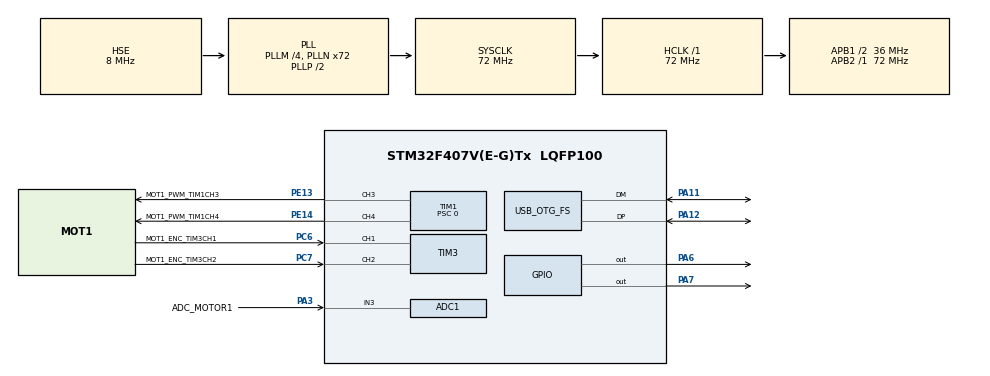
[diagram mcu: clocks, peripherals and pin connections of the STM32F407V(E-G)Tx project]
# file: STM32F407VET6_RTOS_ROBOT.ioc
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ADC1.Channel-0\#ChannelRegularConversion=ADC_CHANNEL_3
ADC1.Channel-4\#ChannelRegularConversion=ADC_CHANNEL_3
ADC1.Channel-5\#ChannelRegularConversion=ADC_CHANNEL_3
ADC1.InjNumberOfConversion=0
ADC1.NbrOfConversion=3
ADC1.NbrOfConversionFlag=1
ADC1.Rank-0\#ChannelRegularConversion=1
ADC1.Rank-4\#ChannelRegularConversion=2
ADC1.Rank-5\#ChannelRegularConversion=3
ADC1.SamplingTime-0\#ChannelRegularConversion=ADC_SAMPLETIME_3CYCLES
ADC1.SamplingTime-4\#ChannelRegularConversion=ADC_SAMPLETIME_3CYCLES
ADC1.SamplingTime-5\#ChannelRegularConversion=ADC_SAMPLETIME_3CYCLES
ADC1.master=1
Dma.ADC1.0.Direction=DMA_PERIPH_TO_MEMORY
Dma.ADC1.0.FIFOMode=DMA_FIFOMODE_DISABLE
Dma.ADC1.0.Instance=DMA2_Stream0
Dma.ADC1.0.MemDataAlignment=DMA_MDATAALIGN_HALFWORD
Dma.ADC1.0.MemInc=DMA_MINC_ENABLE
Dma.ADC1.0.Mode=DMA_CIRCULAR
Dma.ADC1.0.PeriphDataAlignment=DMA_PDATAALIGN_HALFWORD
Dma.ADC1.0.PeriphInc=DMA_PINC_DISABLE
Dma.ADC1.0.Priority=DMA_PRIORITY_LOW
Dma.Request0=ADC1
FREERTOS.Queues01=USBqueue,8,11,1,Static,USBqueueBuffer,USBqueueControlBlock
FREERTOS.Tasks01=main_thread,24,128,main_task,Default,NULL,Static,mainTaskBuffer,mainTaskControlBlock;PWM_thread,8,128,pwm_task,Default,NULL,Static,PWM_threadBuffer,PWM_threadControlBlock
FREERTOS.configUSE_NEWLIB_REENTRANT=1
Mcu.Family=STM32F4
Mcu.Name=STM32F407V(E-G)Tx
Mcu.Package=LQFP100
NVIC.DMA2_Stream0_IRQn=true\:5\:0\:false\:false\:true\:true\:false\:true\:true
NVIC.OTG_FS_IRQn=true\:5\:0\:false\:false\:true\:true\:true\:true\:true
NVIC.PriorityGroup=NVIC_PRIORITYGROUP_4
NVIC.TIM6_DAC_IRQn=true\:15\:0\:false\:false\:true\:false\:false\:true\:true
NVIC.TimeBase=TIM6_DAC_IRQn
NVIC.TimeBaseIP=TIM6
PA11.Mode=Device_Only
PA11.Signal=USB_OTG_FS_DM
PA12.Mode=Device_Only
PA12.Signal=USB_OTG_FS_DP
PA3.GPIO_Label=ADC_MOTOR1
PA3.Signal=ADCx_IN3
PA6.Signal=GPIO_Output
PA7.Signal=GPIO_Output
PC6.GPIO_Label=MOT1_ENC_TIM3CH1
PC6.Signal=S_TIM3_CH1
PC7.GPIO_Label=MOT1_ENC_TIM3CH2
PC7.Signal=S_TIM3_CH2
PE13.GPIO_Label=MOT1_PWM_TIM1CH3
PE13.Signal=S_TIM1_CH3
PE14.GPIO_Label=MOT1_PWM_TIM1CH4
PE14.Signal=S_TIM1_CH4
PH0-OSC_IN.Mode=HSE-External-Oscillator
PH0-OSC_IN.Signal=RCC_OSC_IN
PH1-OSC_OUT.Mode=HSE-External-Oscillator
PH1-OSC_OUT.Signal=RCC_OSC_OUT
ProjectManager.HeapSize=0x200
ProjectManager.StackSize=0x400
ProjectManager.TargetToolchain=STM32CubeIDE
RCC.48MHZClocksFreq_Value=48000000
RCC.AHBFreq_Value=72000000
RCC.APB1CLKDivider=RCC_HCLK_DIV2
RCC.APB1Freq_Value=36000000
RCC.APB1TimFreq_Value=72000000
RCC.APB2Freq_Value=72000000
RCC.APB2TimFreq_Value=72000000
RCC.CortexFreq_Value=72000000
RCC.HCLKFreq_Value=72000000
RCC.HSE_VALUE=8000000
RCC.HSI_VALUE=16000000
RCC.LSE_VALUE=32768
RCC.PLLM=4
RCC.PLLN=72
RCC.PLLQ=3
RCC.SYSCLKFreq_VALUE=72000000
RCC.SYSCLKSource=RCC_SYSCLKSOURCE_PLLCLK
RCC.VCOOutputFreq_Value=144000000
SH.ADCx_IN3.0=ADC1_IN3,IN3
SH.S_TIM1_CH3.0=TIM1_CH3,PWM Generation3 CH3
SH.S_TIM1_CH4.0=TIM1_CH4,PWM Generation4 CH4
SH.S_TIM3_CH1.0=TIM3_CH1,Encoder_Interface
SH.S_TIM3_CH2.0=TIM3_CH2,Encoder_Interface
TIM1.Channel-PWM\ Generation3\ CH3=TIM_CHANNEL_3
TIM1.Channel-PWM\ Generation4\ CH4=TIM_CHANNEL_4
TIM1.CounterMode=TIM_COUNTERMODE_CENTERALIGNED3
TIM1.Period=1665
TIM1.Prescaler=0
TIM3.EncoderMode=TIM_ENCODERMODE_TI12
TIM7.Period=65535
TIM7.Prescaler=50-1
USB_DEVICE.CLASS_NAME_FS=CDC
USB_DEVICE.VirtualMode-CDC_FS=Cdc
USB_DEVICE.VirtualModeFS=Cdc_FS
USB_OTG_FS.VirtualMode=Device_Only
VP_ADC1_TempSens_Input.Mode=IN-TempSens
VP_FREERTOS_VS_CMSIS_V2.Mode=CMSIS_V2
VP_SYS_VS_tim6.Mode=TIM6
VP_TIM7_VS_ClockSourceINT.Mode=Enable_Timer
VP_USB_DEVICE_VS_USB_DEVICE_CDC_FS.Mode=CDC_FS
board=custom

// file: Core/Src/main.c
/* USER CODE BEGIN Header */
/**
  ******************************************************************************
  * @file           : main.c
  * @brief          : Main program body
  ******************************************************************************
  * @attention
  *
  * Copyright (c) 2025 STMicroelectronics.
  * All rights reserved.
  *
  * This software is licensed under terms that can be found in the LICENSE file
  * in the root directory of this software component.
  * If no LICENSE file comes with this software, it is provided AS-IS.
  *
  ******************************************************************************
  */
/* USER CODE END Header */
#include "main.h"
#include "cmsis_os.h"
#include "usb_device.h"

/* USER CODE BEGIN Includes */
#include "usb_packet.h"
#include "motor.h"
/* USER CODE END Includes */

typedef StaticTask_t osStaticThreadDef_t;
typedef StaticQueue_t osStaticMessageQDef_t;

ADC_HandleTypeDef hadc1;
DMA_HandleTypeDef hdma_adc1;

TIM_HandleTypeDef htim1;
TIM_HandleTypeDef htim3;
TIM_HandleTypeDef htim7;

/* Definitions for main_thread */
osThreadId_t main_threadHandle;
uint32_t mainTaskBuffer[ 128 ];
osStaticThreadDef_t mainTaskControlBlock;
const osThreadAttr_t main_thread_attributes = {
  .name = "main_thread",
  .cb_mem = &mainTaskControlBlock,
  .cb_size = sizeof(mainTaskControlBlock),
  .stack_mem = &mainTaskBuffer[0],
  .stack_size = sizeof(mainTaskBuffer),
  .priority = (osPriority_t) osPriorityNormal,
};
/* Definitions for PWM_thread */
osThreadId_t PWM_threadHandle;
uint32_t PWM_threadBuffer[ 128 ];
osStaticThreadDef_t PWM_threadControlBlock;
const osThreadAttr_t PWM_thread_attributes = {
  .name = "PWM_thread",
  .cb_mem = &PWM_threadControlBlock,
  .cb_size = sizeof(PWM_threadControlBlock),
  .stack_mem = &PWM_threadBuffer[0],
  .stack_size = sizeof(PWM_threadBuffer),
  .priority = (osPriority_t) osPriorityLow,
};
/* Definitions for USBqueue */
osMessageQueueId_t USBqueueHandle;
uint8_t USBqueueBuffer[ 8 * 11 ];
osStaticMessageQDef_t USBqueueControlBlock;
const osMessageQueueAttr_t USBqueue_attributes = {
  .name = "USBqueue",
  .cb_mem = &USBqueueControlBlock,
  .cb_size = sizeof(USBqueueControlBlock),
  .mq_mem = &USBqueueBuffer,
  .mq_size = sizeof(USBqueueBuffer)
};

void SystemClock_Config(void);
static void MX_GPIO_Init(void);
static void MX_DMA_Init(void);
static void MX_TIM7_Init(void);
static void MX_TIM3_Init(void);
static void MX_TIM1_Init(void);
static void MX_ADC1_Init(void);
void main_task(void *argument);
void pwm_task(void *argument);

int main(void)
{

  /* MCU Configuration--------------------------------------------------------*/

  /* Reset of all peripherals, Initializes the Flash interface and the Systick. */
  HAL_Init();

  /* Configure the system clock */
  SystemClock_Config();

  /* Initialize all configured peripherals */
  MX_GPIO_Init();
  MX_DMA_Init();
  MX_TIM7_Init();
  MX_TIM3_Init();
  MX_TIM1_Init();
  MX_ADC1_Init();

  /* Init scheduler */
  osKernelInitialize();

  /* Create the queue(s) */
  /* creation of USBqueue */
  USBqueueHandle = osMessageQueueNew (8, 11, &USBqueue_attributes);

  /* Create the thread(s) */
  /* creation of main_thread */
  main_threadHandle = osThreadNew(main_task, NULL, &main_thread_attributes);

  /* creation of PWM_thread */
  PWM_threadHandle = osThreadNew(pwm_task, NULL, &PWM_thread_attributes);

  /* Start scheduler */
  osKernelStart();

  /* We should never get here as control is now taken by the scheduler */

  /* Infinite loop */
  while (1)
  {

  }
}

void SystemClock_Config(void)
{
  RCC_OscInitTypeDef RCC_OscInitStruct = {0};
  RCC_ClkInitTypeDef RCC_ClkInitStruct = {0};

  /** Configure the main internal regulator output voltage
  */
  __HAL_RCC_PWR_CLK_ENABLE();
  __HAL_PWR_VOLTAGESCALING_CONFIG(PWR_REGULATOR_VOLTAGE_SCALE1);

  /** Initializes the RCC Oscillators according to the specified parameters
  * in the RCC_OscInitTypeDef structure.
  */
  RCC_OscInitStruct.OscillatorType = RCC_OSCILLATORTYPE_HSE;
  RCC_OscInitStruct.HSEState = RCC_HSE_ON;
  RCC_OscInitStruct.PLL.PLLState = RCC_PLL_ON;
  RCC_OscInitStruct.PLL.PLLSource = RCC_PLLSOURCE_HSE;
  RCC_OscInitStruct.PLL.PLLM = 4;
  RCC_OscInitStruct.PLL.PLLN = 72;
  RCC_OscInitStruct.PLL.PLLP = RCC_PLLP_DIV2;
  RCC_OscInitStruct.PLL.PLLQ = 3;
  if (HAL_RCC_OscConfig(&RCC_OscInitStruct) != HAL_OK)
  {
    Error_Handler();
  }

  /** Initializes the CPU, AHB and APB buses clocks
  */
  RCC_ClkInitStruct.ClockType = RCC_CLOCKTYPE_HCLK|RCC_CLOCKTYPE_SYSCLK
                              |RCC_CLOCKTYPE_PCLK1|RCC_CLOCKTYPE_PCLK2;
  RCC_ClkInitStruct.SYSCLKSource = RCC_SYSCLKSOURCE_PLLCLK;
  RCC_ClkInitStruct.AHBCLKDivider = RCC_SYSCLK_DIV1;
  RCC_ClkInitStruct.APB1CLKDivider = RCC_HCLK_DIV2;
  RCC_ClkInitStruct.APB2CLKDivider = RCC_HCLK_DIV1;

  if (HAL_RCC_ClockConfig(&RCC_ClkInitStruct, FLASH_LATENCY_2) != HAL_OK)
  {
    Error_Handler();
  }
}

static void MX_ADC1_Init(void)
{

  ADC_ChannelConfTypeDef sConfig = {0};

  /** Configure the global features of the ADC (Clock, Resolution, Data Alignment and number of conversion)
  */
  hadc1.Instance = ADC1;
  hadc1.Init.ClockPrescaler = ADC_CLOCK_SYNC_PCLK_DIV2;
  hadc1.Init.Resolution = ADC_RESOLUTION_12B;
  hadc1.Init.ScanConvMode = ENABLE;
  hadc1.Init.ContinuousConvMode = DISABLE;
  hadc1.Init.DiscontinuousConvMode = DISABLE;
  hadc1.Init.ExternalTrigConvEdge = ADC_EXTERNALTRIGCONVEDGE_NONE;
  hadc1.Init.ExternalTrigConv = ADC_SOFTWARE_START;
  hadc1.Init.DataAlign = ADC_DATAALIGN_RIGHT;
  hadc1.Init.NbrOfConversion = 3;
  hadc1.Init.DMAContinuousRequests = DISABLE;
  hadc1.Init.EOCSelection = ADC_EOC_SINGLE_CONV;
  if (HAL_ADC_Init(&hadc1) != HAL_OK)
  {
    Error_Handler();
  }

  /** Configure for the selected ADC regular channel its corresponding rank in the sequencer and its sample time.
  */
  sConfig.Channel = ADC_CHANNEL_3;
  sConfig.Rank = 1;
  sConfig.SamplingTime = ADC_SAMPLETIME_3CYCLES;
  if (HAL_ADC_ConfigChannel(&hadc1, &sConfig) != HAL_OK)
  {
    Error_Handler();
  }

  /** Configure for the selected ADC regular channel its corresponding rank in the sequencer and its sample time.
  */
  sConfig.Rank = 2;
  if (HAL_ADC_ConfigChannel(&hadc1, &sConfig) != HAL_OK)
  {
    Error_Handler();
  }

  /** Configure for the selected ADC regular channel its corresponding rank in the sequencer and its sample time.
  */
  sConfig.Rank = 3;
  if (HAL_ADC_ConfigChannel(&hadc1, &sConfig) != HAL_OK)
  {
    Error_Handler();
  }

}

static void MX_TIM1_Init(void)
{

  TIM_MasterConfigTypeDef sMasterConfig = {0};
  TIM_OC_InitTypeDef sConfigOC = {0};
  TIM_BreakDeadTimeConfigTypeDef sBreakDeadTimeConfig = {0};

  htim1.Instance = TIM1;
  htim1.Init.Prescaler = 0;
  htim1.Init.CounterMode = TIM_COUNTERMODE_CENTERALIGNED3;
  htim1.Init.Period = 1665;
  htim1.Init.ClockDivision = TIM_CLOCKDIVISION_DIV1;
  htim1.Init.RepetitionCounter = 0;
  htim1.Init.AutoReloadPreload = TIM_AUTORELOAD_PRELOAD_DISABLE;
  if (HAL_TIM_PWM_Init(&htim1) != HAL_OK)
  {
    Error_Handler();
  }
  sMasterConfig.MasterOutputTrigger = TIM_TRGO_RESET;
  sMasterConfig.MasterSlaveMode = TIM_MASTERSLAVEMODE_DISABLE;
  if (HAL_TIMEx_MasterConfigSynchronization(&htim1, &sMasterConfig) != HAL_OK)
  {
    Error_Handler();
  }
  sConfigOC.OCMode = TIM_OCMODE_PWM1;
  sConfigOC.Pulse = 0;
  sConfigOC.OCPolarity = TIM_OCPOLARITY_HIGH;
  sConfigOC.OCNPolarity = TIM_OCNPOLARITY_HIGH;
  sConfigOC.OCFastMode = TIM_OCFAST_DISABLE;
  sConfigOC.OCIdleState = TIM_OCIDLESTATE_RESET;
  sConfigOC.OCNIdleState = TIM_OCNIDLESTATE_RESET;
  if (HAL_TIM_PWM_ConfigChannel(&htim1, &sConfigOC, TIM_CHANNEL_3) != HAL_OK)
  {
    Error_Handler();
  }
  if (HAL_TIM_PWM_ConfigChannel(&htim1, &sConfigOC, TIM_CHANNEL_4) != HAL_OK)
  {
    Error_Handler();
  }
  sBreakDeadTimeConfig.OffStateRunMode = TIM_OSSR_DISABLE;
  sBreakDeadTimeConfig.OffStateIDLEMode = TIM_OSSI_DISABLE;
  sBreakDeadTimeConfig.LockLevel = TIM_LOCKLEVEL_OFF;
  sBreakDeadTimeConfig.DeadTime = 0;
  sBreakDeadTimeConfig.BreakState = TIM_BREAK_DISABLE;
  sBreakDeadTimeConfig.BreakPolarity = TIM_BREAKPOLARITY_HIGH;
  sBreakDeadTimeConfig.AutomaticOutput = TIM_AUTOMATICOUTPUT_DISABLE;
  if (HAL_TIMEx_ConfigBreakDeadTime(&htim1, &sBreakDeadTimeConfig) != HAL_OK)
  {
    Error_Handler();
  }
  HAL_TIM_MspPostInit(&htim1);

}

static void MX_TIM3_Init(void)
{

  TIM_Encoder_InitTypeDef sConfig = {0};
  TIM_MasterConfigTypeDef sMasterConfig = {0};

  htim3.Instance = TIM3;
  htim3.Init.Prescaler = 0;
  htim3.Init.CounterMode = TIM_COUNTERMODE_UP;
  htim3.Init.Period = 65535;
  htim3.Init.ClockDivision = TIM_CLOCKDIVISION_DIV1;
  htim3.Init.AutoReloadPreload = TIM_AUTORELOAD_PRELOAD_DISABLE;
  sConfig.EncoderMode = TIM_ENCODERMODE_TI12;
  sConfig.IC1Polarity = TIM_ICPOLARITY_RISING;
  sConfig.IC1Selection = TIM_ICSELECTION_DIRECTTI;
  sConfig.IC1Prescaler = TIM_ICPSC_DIV1;
  sConfig.IC1Filter = 0;
  sConfig.IC2Polarity = TIM_ICPOLARITY_RISING;
  sConfig.IC2Selection = TIM_ICSELECTION_DIRECTTI;
  sConfig.IC2Prescaler = TIM_ICPSC_DIV1;
  sConfig.IC2Filter = 0;
  if (HAL_TIM_Encoder_Init(&htim3, &sConfig) != HAL_OK)
  {
    Error_Handler();
  }
  sMasterConfig.MasterOutputTrigger = TIM_TRGO_RESET;
  sMasterConfig.MasterSlaveMode = TIM_MASTERSLAVEMODE_DISABLE;
  if (HAL_TIMEx_MasterConfigSynchronization(&htim3, &sMasterConfig) != HAL_OK)
  {
    Error_Handler();
  }

}

static void MX_TIM7_Init(void)
{

  TIM_MasterConfigTypeDef sMasterConfig = {0};

  htim7.Instance = TIM7;
  htim7.Init.Prescaler = 50-1;
  htim7.Init.CounterMode = TIM_COUNTERMODE_UP;
  htim7.Init.Period = 65535;
  htim7.Init.AutoReloadPreload = TIM_AUTORELOAD_PRELOAD_DISABLE;
  if (HAL_TIM_Base_Init(&htim7) != HAL_OK)
  {
    Error_Handler();
  }
  sMasterConfig.MasterOutputTrigger = TIM_TRGO_RESET;
  sMasterConfig.MasterSlaveMode = TIM_MASTERSLAVEMODE_DISABLE;
  if (HAL_TIMEx_MasterConfigSynchronization(&htim7, &sMasterConfig) != HAL_OK)
  {
    Error_Handler();
  }

}

static void MX_DMA_Init(void)
{

  /* DMA controller clock enable */
  __HAL_RCC_DMA2_CLK_ENABLE();

  /* DMA interrupt init */
  /* DMA2_Stream0_IRQn interrupt configuration */
  HAL_NVIC_SetPriority(DMA2_Stream0_IRQn, 5, 0);
  HAL_NVIC_EnableIRQ(DMA2_Stream0_IRQn);

}

static void MX_GPIO_Init(void)
{
  GPIO_InitTypeDef GPIO_InitStruct = {0};

  /* GPIO Ports Clock Enable */
  __HAL_RCC_GPIOH_CLK_ENABLE();
  __HAL_RCC_GPIOA_CLK_ENABLE();
  __HAL_RCC_GPIOE_CLK_ENABLE();
  __HAL_RCC_GPIOC_CLK_ENABLE();

  /*Configure GPIO pin Output Level */
  HAL_GPIO_WritePin(GPIOA, GPIO_PIN_6|GPIO_PIN_7, GPIO_PIN_RESET);

  /*Configure GPIO pins : PA6 PA7 */
  GPIO_InitStruct.Pin = GPIO_PIN_6|GPIO_PIN_7;
  GPIO_InitStruct.Mode = GPIO_MODE_OUTPUT_PP;
  GPIO_InitStruct.Pull = GPIO_NOPULL;
  GPIO_InitStruct.Speed = GPIO_SPEED_FREQ_LOW;
  HAL_GPIO_Init(GPIOA, &GPIO_InitStruct);

}

/* USER CODE BEGIN 4 */
void delay_us(TIM_HandleTypeDef *htim_delay, uint32_t us){
	__HAL_TIM_SET_COUNTER(htim_delay,0);  // set the counter value a 0
	while (__HAL_TIM_GET_COUNTER(htim_delay) < us);
}

/* USER CODE END 4 */

void main_task(void *argument)
{
  /* init code for USB_DEVICE */
  MX_USB_DEVICE_Init();
  /* USER CODE BEGIN 5 */
	HAL_TIM_Base_Start(&htim7); // delay_us timer

	motor dc_motor1 = init_motor(&htim1, TIM_CHANNEL_3, TIM_CHANNEL_4,
			  	  	  	  	     &htim3, TIM_CHANNEL_1, TIM_CHANNEL_2,
								 0.1, 0.5, 1);

//	motor dc_motor2 = init_motor(&htim1, TIM_CHANNEL_1, TIM_CHANNEL_2,
//								 &htim2, TIM_CHANNEL_1, TIM_CHANNEL_2,
//	  							 0.1, 0.5, 1);

  HAL_GPIO_WritePin(GPIOA, GPIO_PIN_7, GPIO_PIN_SET);
  /* Infinite loop */
  for(;;)
  {
	  osStatus_t queue_status = osMessageQueueGet(USBqueueHandle, &active_packet, 0, 0);

	  if(active_packet.cmd == CMD_CONN) HAL_GPIO_WritePin(GPIOA, GPIO_PIN_7, GPIO_PIN_RESET);
	  else if(active_packet.cmd == CMD_DISC) HAL_GPIO_WritePin(GPIOA, GPIO_PIN_7, GPIO_PIN_SET);

	  move_abs_motor(&dc_motor1, active_packet.sp1);

	  osDelay(10);
	  //osDelayUntil(60);
  }
  /* USER CODE END 5 */
}

void pwm_task(void *argument)
{
  /* USER CODE BEGIN pwm_task */
  /* Infinite loop */
  for(;;)
  {
	  HAL_GPIO_TogglePin(GPIOA, GPIO_PIN_6);
	  osDelay(500);
  }
  /* USER CODE END pwm_task */
}

void HAL_TIM_PeriodElapsedCallback(TIM_HandleTypeDef *htim)
{
  if (htim->Instance == TIM6)
  {
    HAL_IncTick();
  }
}

void Error_Handler(void)
{
  __disable_irq();
  while (1)
  {
  }
}
